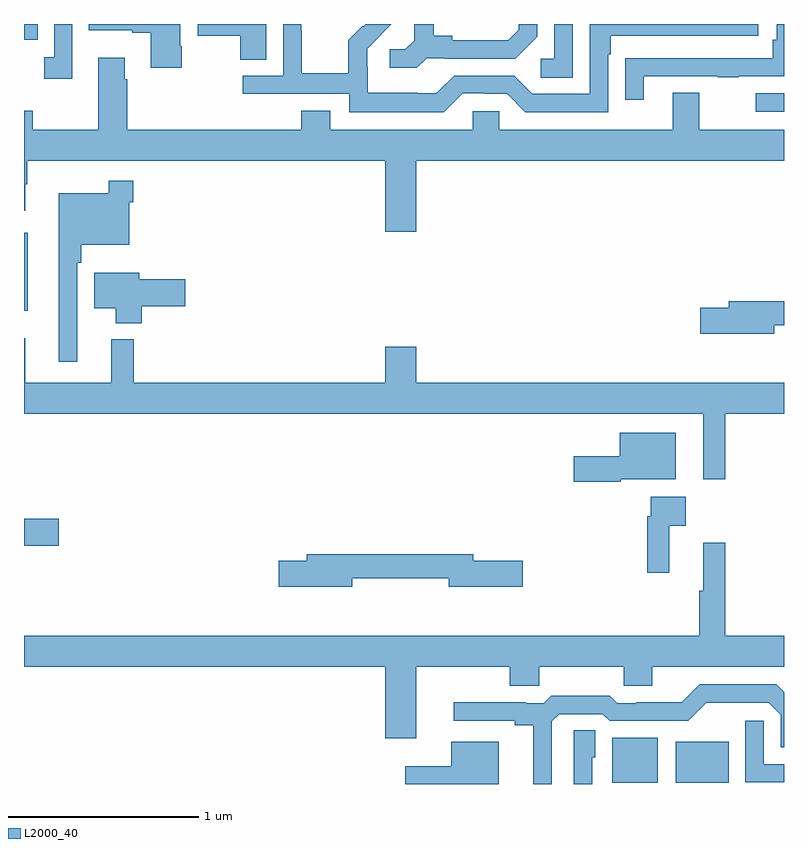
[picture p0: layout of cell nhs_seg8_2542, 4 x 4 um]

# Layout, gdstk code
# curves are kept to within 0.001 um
import gdstk
lib = gdstk.Library(unit=1e-6, precision=1e-09)
def R(c, l, rs):  # rectangles x0, y0, x1, y1
    for r in rs: c.add(gdstk.rectangle(r[:2], r[2:], *l))
def P(c, l, *ps):  # polygons
    for p in ps: c.add(gdstk.Polygon(p, *l))
L2000_40 = (2000, 40)

nhs_seg8_2542 = lib.new_cell('nhs_seg8_2542')
R(nhs_seg8_2542, L2000_40, [(274.097,1099.907,274.336,1100.143), (274.43,1099.907,274.708,1100.122), (271,1101.154,271.183,1101.296), (271,1102.391,271.021,1102.801), (274.851,1103.439,275,1103.535), (271,1103.818,271.073,1103.9), (273.329,1103.899,273.474,1103.9)])
P(nhs_seg8_2542, L2000_40, [(273.309,1103.535),(273.425,1103.535),(273.425,1103.532),(273.543,1103.532),(273.639,1103.436),(274.074,1103.436),(274.074,1103.741),(274.087,1103.741),(274.087,1103.838),(274.864,1103.838),(274.864,1103.9),(273.978,1103.9),(273.978,1103.532),(273.675,1103.532),(273.579,1103.628),(273.264,1103.628),(273.171,1103.535),(273.071,1103.535),(273.071,1103.539),(272.808,1103.539),(272.808,1103.673),(272.806,1103.673),(272.806,1103.77),(272.934,1103.9),(272.798,1103.9),(272.787,1103.889),(272.784,1103.892),(272.707,1103.815),(272.707,1103.641),(272.463,1103.641),(272.463,1103.864),(272.46,1103.864),(272.46,1103.9),(272.364,1103.9),(272.364,1103.628),(272.151,1103.628),(272.151,1103.532),(272.712,1103.532),(272.712,1103.435),(273.209,1103.435)],
  [(274.261,1103.625),(274.651,1103.625),(274.651,1103.62),(274.763,1103.62),(274.763,1103.625),(275,1103.625),(275,1103.9),(274.962,1103.9),(274.962,1103.818),(274.942,1103.818),(274.942,1103.721),(274.267,1103.721),(274.267,1103.72),(274.165,1103.72),(274.165,1103.502),(274.261,1103.502)],
  [(272.275,1103.9),(271.914,1103.9),(271.914,1103.837),(272.137,1103.837),(272.137,1103.713),(272.275,1103.713)],
  [(271.254,1103.9),(271.158,1103.9),(271.158,1103.726),(271.107,1103.726),(271.107,1103.613),(271.254,1103.613)],
  [(271.83,1103.782),(271.822,1103.782),(271.822,1103.9),(271.341,1103.9),(271.341,1103.867),(271.571,1103.867),(271.571,1103.855),(271.667,1103.855),(271.667,1103.67),(271.83,1103.67)],
  [(273.888,1103.9),(273.792,1103.9),(273.792,1103.718),(273.72,1103.718),(273.72,1103.617),(273.888,1103.617)],
  [(273.12,1103.721),(273.214,1103.721),(273.214,1103.718),(273.586,1103.718),(273.702,1103.834),(273.702,1103.9),(273.605,1103.9),(273.605,1103.871),(273.548,1103.814),(273.253,1103.814),(273.253,1103.837),(273.157,1103.837),(273.157,1103.9),(273.053,1103.9),(273.053,1103.813),(273.006,1103.766),(272.925,1103.766),(272.925,1103.669),(273.068,1103.669)],
  [(273.064,1103.18),(275,1103.18),(275,1103.344),(274.555,1103.344),(274.555,1103.539),(274.415,1103.539),(274.415,1103.344),(273.501,1103.344),(273.501,1103.442),(273.363,1103.442),(273.363,1103.344),(272.611,1103.344),(272.611,1103.443),(272.459,1103.443),(272.459,1103.344),(271.544,1103.344),(271.544,1103.609),(271.531,1103.609),(271.531,1103.722),(271.391,1103.722),(271.391,1103.344),(271.047,1103.344),(271.047,1103.443),(271,1103.443),(271,1102.917),(271.006,1102.917),(271.006,1103.057),(271.018,1103.057),(271.018,1103.18),(272.9,1103.18),(272.9,1102.806),(273.064,1102.806)],
  [(271.281,1102.643),(271.301,1102.643),(271.301,1102.739),(271.554,1102.739),(271.554,1102.961),(271.574,1102.961),(271.574,1103.074),(271.446,1103.074),(271.446,1103.008),(271.184,1103.008),(271.184,1102.122),(271.281,1102.122)],
  [(271.619,1102.414),(271.849,1102.414),(271.849,1102.556),(271.606,1102.556),(271.606,1102.591),(271.37,1102.591),(271.37,1102.403),(271.484,1102.403),(271.484,1102.325),(271.619,1102.325)],
  [(274.948,1102.314),(275,1102.314),(275,1102.442),(274.709,1102.442),(274.709,1102.406),(274.56,1102.406),(274.56,1102.271),(274.948,1102.271)],
  [(274.691,1101.848),(275,1101.848),(275,1102.012),(273.064,1102.012),(273.064,1102.201),(272.9,1102.201),(272.9,1102.012),(271.577,1102.012),(271.577,1102.24),(271.46,1102.24),(271.46,1102.012),(271.007,1102.012),(271.007,1102.246),(271,1102.246),(271,1101.848),(274.574,1101.848),(274.574,1101.504),(274.691,1101.504)],
  [(274.14,1101.503),(274.429,1101.503),(274.429,1101.748),(274.136,1101.748),(274.136,1101.625),(273.894,1101.625),(273.894,1101.491),(274.14,1101.491)],
  [(274.397,1101.26),(274.483,1101.26),(274.483,1101.412),(274.299,1101.412),(274.299,1101.308),(274.279,1101.308),(274.279,1101.012),(274.397,1101.012)],
  [(275,1100.68),(274.691,1100.68),(274.691,1101.169),(274.574,1101.169),(274.574,1100.916),(274.555,1100.916),(274.555,1100.68),(271,1100.68),(271,1100.516),(272.9,1100.516),(272.9,1100.142),(273.064,1100.142),(273.064,1100.516),(273.556,1100.516),(273.556,1100.418),(273.711,1100.418),(273.711,1100.516),(274.156,1100.516),(274.156,1100.418),(274.306,1100.418),(274.306,1100.516),(275,1100.516)],
  [(272.728,1100.982),(273.236,1100.982),(273.236,1100.939),(273.625,1100.939),(273.625,1101.074),(273.364,1101.074),(273.364,1101.11),(272.489,1101.11),(272.489,1101.074),(272.34,1101.074),(272.34,1100.939),(272.728,1100.939)],
  [(273.777,1100.229),(273.816,1100.268),(274.047,1100.268),(274.083,1100.232),(274.497,1100.232),(274.592,1100.327),(274.92,1100.328),(274.983,1100.265),(274.983,1100.094),(275,1100.094),(275,1100.384),(274.96,1100.424),(274.557,1100.424),(274.463,1100.33),(274.222,1100.33),(274.222,1100.325),(274.122,1100.325),(274.083,1100.365),(273.775,1100.365),(273.735,1100.325),(273.641,1100.325),(273.641,1100.33),(273.261,1100.33),(273.261,1100.232),(273.584,1100.232),(273.584,1100.21),(273.68,1100.21),(273.68,1099.9),(273.777,1099.9)],
  [(275,1100.004),(274.893,1100.004),(274.893,1100.233),(274.797,1100.233),(274.797,1099.908),(275,1099.908)],
  [(273.99,1100.04),(274.006,1100.04),(274.006,1100.183),(273.894,1100.183),(273.894,1099.9),(273.99,1099.9)],
  [(273.499,1100.122),(273.248,1100.122),(273.248,1099.993),(273.006,1099.993),(273.006,1099.9),(273.499,1099.9)])

lib.write_gds('nhs_seg8_2542.gds')
